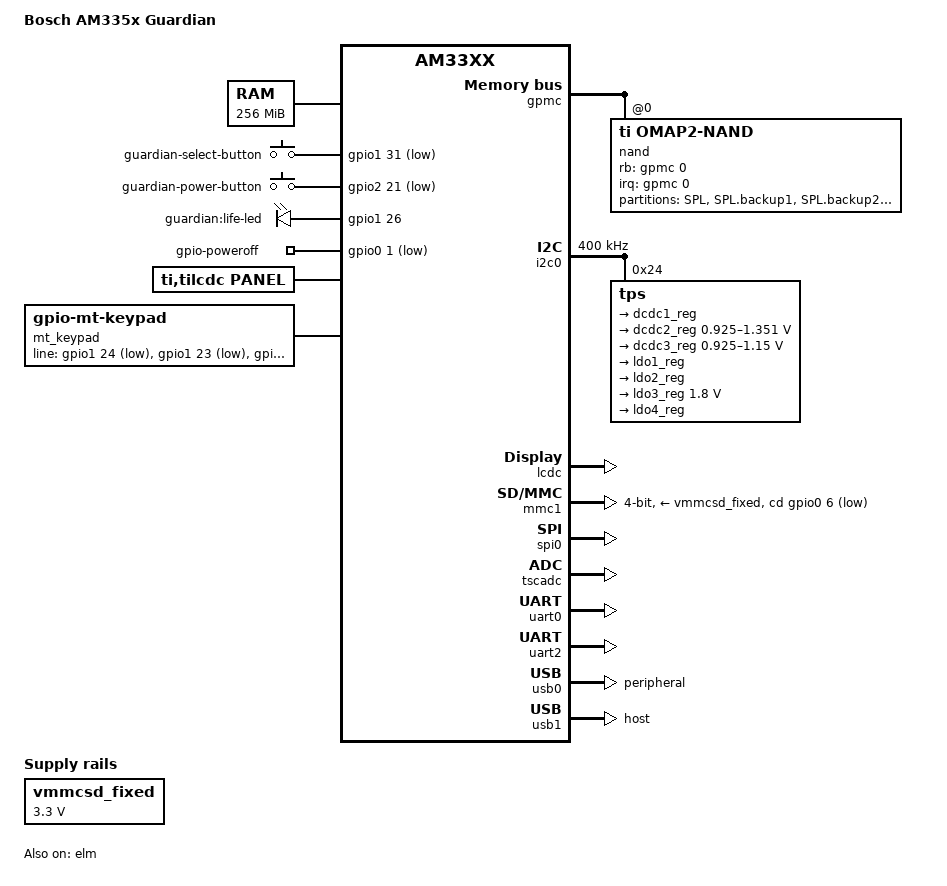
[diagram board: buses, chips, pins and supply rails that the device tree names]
// SPDX-License-Identifier: GPL-2.0
/*
 * Copyright (C) 2012 Texas Instruments Incorporated - https://www.ti.com/
 * Copyright (C) 2018 Robert Bosch Power Tools GmbH
 */
/dts-v1/;

#include "am33xx.dtsi"
#include <dt-bindings/input/input.h>
#include <dt-bindings/interrupt-controller/irq.h>

/ {
	model = "Bosch AM335x Guardian";
	compatible = "bosch,am335x-guardian", "ti,am33xx";

	chosen {
		stdout-path = &uart0;
		tick-timer = &timer2;
	};

	cpus {
		cpu@0 {
			cpu0-supply = <&dcdc2_reg>;
		};
	};

	memory@80000000 {
		device_type = "memory";
		reg = <0x80000000 0x10000000>; /* 256 MB */
	};

	guardian_buttons: gpio-keys {
		pinctrl-names = "default";
		pinctrl-0 = <&guardian_button_pins>;
		compatible = "gpio-keys";

		select-button {
			label = "guardian-select-button";
			linux,code = <KEY_5>;
			gpios = <&gpio1 31 GPIO_ACTIVE_LOW>;
			wakeup-source;
		};

		power-button {
			label = "guardian-power-button";
			linux,code = <KEY_POWER>;
			gpios = <&gpio2 21 GPIO_ACTIVE_LOW>;
			wakeup-source;
		};
	};

	guardian_leds: gpio-leds {
		pinctrl-names = "default";
		pinctrl-0 = <&guardian_led_pins>;
		compatible = "gpio-leds";

		life-led {
			label = "guardian:life-led";
			gpios = <&gpio1 26 GPIO_ACTIVE_HIGH>;
			linux,default-trigger = "heartbeat";
			default-state = "off";
		};
	};

	gpio-poweroff {
		compatible = "gpio-poweroff";
		gpios = <&gpio0 1 GPIO_ACTIVE_LOW>;
	};

	panel {
		compatible = "ti,tilcdc,panel";
		pinctrl-names = "default", "sleep";
		pinctrl-0 = <&lcd_pins_default &lcd_disen_pins>;
		pinctrl-1 = <&lcd_pins_sleep>;

		display-timings {
			timing-320x240 {
				hactive         = <320>;
				vactive         = <240>;
				hback-porch     = <68>;
				hfront-porch    = <20>;
				hsync-len       = <1>;
				vback-porch     = <18>;
				vfront-porch    = <4>;
				vsync-len       = <1>;
				clock-frequency = <9000000>;
				hsync-active    = <0>;
				vsync-active    = <0>;
			};
		};
		panel-info {
			ac-bias           = <255>;
			ac-bias-intrpt    = <0>;
			dma-burst-sz      = <16>;
			bpp               = <24>;
			bus-width         = <16>;
			fdd               = <0x80>;
			sync-edge         = <0>;
			sync-ctrl         = <1>;
			raster-order      = <0>;
			fifo-th           = <0>;
		};

	};

	guardian_beeper: pwm-7 {
		compatible = "ti,omap-dmtimer-pwm";
		#pwm-cells = <3>;
		ti,timers = <&timer7>;
		pinctrl-names = "default";
		pinctrl-0 = <&guardian_beeper_pins>;
		ti,clock-source = <0x01>;
	};

	vmmcsd_fixed: fixedregulator0 {
		compatible = "regulator-fixed";
		regulator-name = "vmmcsd_fixed";
		regulator-min-microvolt = <3300000>;
		regulator-max-microvolt = <3300000>;
	};

	mt_keypad: mt_keypad@0 {
		compatible = "gpio-mt-keypad";
		debounce-delay-ms = <10>;
		col-scan-delay-us = <2>;
		keypad,num-lines = <5>;
		linux,no-autorepeat;
		gpio-activelow;
		line-gpios = <
			&gpio1 24 GPIO_ACTIVE_LOW    /*gpio_56*/
			&gpio1 23 GPIO_ACTIVE_LOW    /*gpio_55*/
			&gpio1 22 GPIO_ACTIVE_LOW    /*gpio_54*/
			&gpio1 20 GPIO_ACTIVE_LOW    /*gpio_52*/
			&gpio1 16 GPIO_ACTIVE_LOW    /*gpio_48*/
		>;
	};
};

&elm {
	status = "okay";
};

&gpmc {
	pinctrl-names = "default";
	pinctrl-0 = <&nandflash_pins>;
	ranges = <0 0 0x08000000 0x1000000>;  /* CS0: 16MB for NAND */
	status = "okay";

	nand@0,0 {
		compatible = "ti,omap2-nand";
		reg = <0 0 4>; /* CS0, offset 0, IO size 4 */
		interrupt-parent = <&gpmc>;
		interrupts = <0 IRQ_TYPE_NONE>, /* fifoevent */
			     <1 IRQ_TYPE_NONE>; /* termcount */
		rb-gpios = <&gpmc 0 GPIO_ACTIVE_HIGH>; /* gpmc_wait0 */
		ti,nand-xfer-type = "prefetch-dma";
		ti,nand-ecc-opt = "bch16";
		ti,elm-id = <&elm>;
		nand-bus-width = <8>;
		gpmc,device-width = <1>;
		gpmc,sync-clk-ps = <0>;
		gpmc,cs-on-ns = <0>;
		gpmc,cs-rd-off-ns = <30>;
		gpmc,cs-wr-off-ns = <30>;
		gpmc,adv-on-ns = <0>;
		gpmc,adv-rd-off-ns = <30>;
		gpmc,adv-wr-off-ns = <30>;
		gpmc,we-on-ns = <0>;
		gpmc,we-off-ns = <15>;
		gpmc,oe-on-ns = <1>;
		gpmc,oe-off-ns = <15>;
		gpmc,access-ns = <30>;
		gpmc,rd-cycle-ns = <30>;
		gpmc,wr-cycle-ns = <30>;
		gpmc,bus-turnaround-ns = <0>;
		gpmc,cycle2cycle-delay-ns = <0>;
		gpmc,clk-activation-ns = <0>;
		gpmc,wr-access-ns = <0>;
		gpmc,wr-data-mux-bus-ns = <0>;

		/*
		 * MTD partition table
		 *
		 * All SPL-* partitions are sized to minimal length which can
		 * be independently programmable. For NAND flash this is equal
		 * to size of erase-block.
		 */
		#address-cells = <1>;
		#size-cells = <1>;

		partition@0 {
			label = "SPL";
			reg = <0x0 0x40000>;
		};

		partition@1 {
			label = "SPL.backup1";
			reg = <0x40000  0x40000>;
		};

		partition@2 {
			label = "SPL.backup2";
			reg = <0x80000  0x40000>;
		};

		partition@3 {
			label = "SPL.backup3";
			reg = <0xc0000  0x40000>;
		};

		partition@4 {
			label = "u-boot";
			reg = <0x100000 0x100000>;
		};

		partition@5 {
			label = "u-boot.backup1";
			reg = <0x200000 0x100000>;
		};

		partition@6 {
			label = "u-boot-2";
			reg = <0x300000 0x100000>;
		};

		partition@7 {
			label = "u-boot-2.backup1";
			reg = <0x400000 0x100000>;
		};

		partition@8 {
			label = "u-boot-env";
			reg = <0x500000 0x40000>;
		};

		partition@9 {
			label = "u-boot-env.backup1";
			reg = <0x540000 0x40000>;
		};

		partition@10 {
			label = "splash-screen";
			reg = <0x580000 0x40000>;
		};

		partition@11 {
			label = "UBI";
			reg = <0x5c0000 0x1fa40000>;
		};
	};
};

&i2c0 {
	pinctrl-names = "default";
	pinctrl-0 = <&i2c0_pins>;
	clock-frequency = <400000>;
	status = "okay";

	tps: tps@24 {
		reg = <0x24>;
	};
};

&lcdc {
	blue-and-red-wiring = "crossed";
	status = "okay";
	port {
		lcdc_0: endpoint@0 {
			remote-endpoint = <0>;
		};
	};
};

&mmc1 {
	bus-width = <0x4>;
	pinctrl-names = "default";
	pinctrl-0 = <&mmc1_pins>;
	cd-gpios = <&gpio0 6 GPIO_ACTIVE_LOW>;
	vmmc-supply = <&vmmcsd_fixed>;
	status = "okay";
};

&rtc {
	clocks = <&clk_32768_ck>, <&clk_24mhz_clkctrl AM3_CLK_24MHZ_CLKDIV32K_CLKCTRL 0>;
	clock-names = "ext-clk", "int-clk";
};

&spi0 {
	ti,pindir-d0-out-d1-in;
	pinctrl-names = "default";
	pinctrl-0 = <&spi0_pins>;
	status = "okay";
};

#include "../../tps65217.dtsi"

&tps {
  /*
   * Configure pmic to enter OFF-state instead of SLEEP-state ("RTC-only
   * mode") at poweroff.  Most BeagleBone versions do not support RTC-only
   * mode and risk hardware damage if this mode is entered.
   *
   * For details, see linux-omap mailing list May 2015 thread
   *  [PATCH] ARM: dts: am335x-bone* enable pmic-shutdown-controller
   * In particular, messages:
   *  https://www.spinics.net/lists/linux-omap/msg118585.html
   *  https://www.spinics.net/lists/linux-omap/msg118615.html
   *
   * You can override this later with
   *  &tps {  /delete-property/ ti,pmic-shutdown-controller;  }
   * if you want to use RTC-only mode and made sure you are not affected
   * by the hardware problems. (Tip: double-check by performing a current
   * measurement after shutdown: it should be less than 1 mA.)
   */
	ti,pmic-shutdown-controller;
	interrupt-parent = <&intc>;
	interrupts = <7>; /* NMI */

	backlight {
		isel = <1>;  /* 1 - ISET1, 2 ISET2 */
		fdim = <500>; /* TPS65217_BL_FDIM_500HZ */
		default-brightness = <50>;
		/* 1(on) - enable current sink, while initialization */
		/* 0(off) - disable current sink, while initialization */
		isink-en = <1>;
	};

	regulators {
		dcdc1_reg: regulator@0 {
			regulator-name = "vdds_dpr";
			regulator-always-on;
		};

		dcdc2_reg: regulator@1 {
			/* VDD_MPU voltage limits 0.95V - 1.26V with +/-4% tolerance */
			regulator-name = "vdd_mpu";
			regulator-min-microvolt = <925000>;
			regulator-max-microvolt = <1351500>;
			regulator-boot-on;
			regulator-always-on;
		};

		dcdc3_reg: regulator@2 {
			/* VDD_CORE voltage limits 0.95V - 1.1V with +/-4% tolerance */
			regulator-name = "vdd_core";
			regulator-min-microvolt = <925000>;
			regulator-max-microvolt = <1150000>;
			regulator-boot-on;
			regulator-always-on;
		};

		ldo1_reg: regulator@3 {
			regulator-name = "vio,vrtc,vdds";
			regulator-always-on;
		};

		ldo2_reg: regulator@4 {
			regulator-name = "vdd_3v3aux";
			regulator-always-on;
		};

		ldo3_reg: regulator@5 {
			regulator-name = "vdd_1v8";
			regulator-min-microvolt = <1800000>;
			regulator-max-microvolt = <1800000>;
			regulator-always-on;
		};

		ldo4_reg: regulator@6 {
			regulator-name = "vdd_3v3a";
			regulator-always-on;
		};
	};
};

&tscadc {
	status = "okay";

	adc {
		ti,adc-channels = <0 1 2 3 4 5 6>;
	};
};

&gpio0 {
	gpio-line-names =
		"",
		"",
		"",
		"",
		"",
		"",
		"",
		"",
		"",
		"",
		"",
		"",
		"",
		"",
		"",
		"",
		"",
		"",
		"",
		"",
		"",
		"",
		"",
		"",
		"",
		"",
		"",
		"",
		"",
		"MirxWakeup",
		"",
		"";
};

&gpio3 {
	ti,gpio-always-on;
	ti,no-reset-on-init;
	gpio-line-names =
		"",
		"MirxBtReset",
		"",
		"CcVolAdcEn",
		"MirxBlePause",
		"",
		"",
		"",
		"",
		"",
		"",
		"",
		"",
		"",
		"AspEn",
		"",
		"",
		"",
		"",
		"",
		"",
		"BatVolAdcEn",
		"",
		"",
		"",
		"",
		"",
		"",
		"",
		"",
		"",
		"";
};

&uart0 {
	pinctrl-names = "default";
	pinctrl-0 = <&uart0_pins>;
	status = "okay";
};

&uart2 {
	pinctrl-names = "default";
	pinctrl-0 = <&uart2_pins>;
	status = "okay";
};

&usb0 {
	dr_mode = "peripheral";
};

&usb1 {
	dr_mode = "host";
	/delete-property/dmas;
	/delete-property/dma-names;
};

&am33xx_pinmux {
	pinctrl-names = "default";
	pinctrl-0 = <&clkout2_pin &guardian_interface_pins>;

	clkout2_pin: clkout2-pins {
		pinctrl-single,pins = <
			/* xdma_event_intr1.clkout2 */
			AM33XX_IOPAD(0x9b4, PIN_OUTPUT_PULLDOWN | MUX_MODE3)
		>;
	};

	guardian_interface_pins: interface-pins {
		pinctrl-single,pins = <
			/* ADC_BATSENSE_EN */
			/* (A14) MCASP0_AHCLKx.gpio3[21] */
			AM33XX_IOPAD(0x9ac, PIN_OUTPUT_PULLDOWN | MUX_MODE7 )
			/* ADC_COINCELL_EN */
			/* (J16) MII1_TX_EN.gpio3[3] */
			AM33XX_IOPAD(0x914, PIN_OUTPUT_PULLDOWN | MUX_MODE7 )
			/* ASP_ENABLE */
			/* (A13) MCASP0_ACLKx.gpio3[14] */
			AM33XX_IOPAD(0x990, PIN_OUTPUT_PULLUP | MUX_MODE7)
			/* (D16) uart1_rxd.uart1_rxd */
			AM33XX_IOPAD(0x980, PIN_INPUT | MUX_MODE7)
			/* (D15) uart1_txd.uart1_txd */
			AM33XX_IOPAD(0x984, PIN_INPUT | MUX_MODE7)
			/*SWITCH-OFF_3V6*/
			/* (M18) gpio0[1] */
			AM33XX_IOPAD(0x94c, PIN_OUTPUT_PULLUP | MUX_MODE7)
			/* MIRACULIX */
			/* (H17) gmii1_crs.gpio3[1] */
			AM33XX_IOPAD(0x90c, PIN_OUTPUT_PULLDOWN | MUX_MODE7 )
			/* (H18) rmii1_refclk.gpio0[29] */
			AM33XX_IOPAD(0x944, PIN_OUTPUT_PULLDOWN | MUX_MODE7 )
			/* (J18) gmii1_txd3.gpio0[16] */
			AM33XX_IOPAD(0x91c, PIN_INPUT           | MUX_MODE7 )
			/* (J17) gmii1_rxdv.gpio3[4] */
			AM33XX_IOPAD(0x918, PIN_OUTPUT_PULLDOWN | MUX_MODE7 )
		>;
	};

	guardian_beeper_pins: dmtimer7-pins {
		pinctrl-single,pins = <
			AM33XX_IOPAD(0x968, PIN_OUTPUT | MUX_MODE5) /* (E18) timer7 */
		>;
	};

	guardian_button_pins: guardian-button-pins {
		pinctrl-single,pins = <
			AM33XX_IOPAD(0x940, PIN_INPUT | MUX_MODE7) /* (M16) gmii1_rxd0.gpio2[21] */
			AM33XX_IOPAD(0x884, PIN_INPUT | MUX_MODE7) /* (V9)  gpmc_csn2.gpio1[31] */
		>;
	};


	i2c0_pins: i2c0-pins {
		pinctrl-single,pins = <
			AM33XX_IOPAD(0x988, PIN_INPUT_PULLUP | MUX_MODE0) /* i2c0_sda.i2c0_sda */
			AM33XX_IOPAD(0x98c, PIN_INPUT_PULLUP | MUX_MODE0) /* i2c0_scl.i2c0_scl */
		>;
	};

	led_bl_pins: gpio-led-bl-pins {
		pinctrl-single,pins = <
			/* P9_14, gpmc_a[2].GPIO1[18] (backlight control) */
			AM33XX_IOPAD(0x848, PIN_OUTPUT | MUX_MODE7)
		>;
	};

	lcd_disen_pins: lcd-disen-pins {
		pinctrl-single,pins = <
			/* P9_27, mcasp0_fsr.gpio3[19] (lcd_disen) */
			AM33XX_IOPAD(0x9a4, PIN_OUTPUT_PULLUP | SLEWCTRL_SLOW | MUX_MODE7)
		>;
	};

	lcd_pins_default: lcd-default-pins {
		pinctrl-single,pins = <
			/* (U10) gpmc_ad8.lcd_data23 */
			AM33XX_IOPAD(0x820, PIN_OUTPUT | SLEWCTRL_SLOW | MUX_MODE1)
			/* (T10) gpmc_ad9.lcd_data22 */
			AM33XX_IOPAD(0x824, PIN_OUTPUT | SLEWCTRL_SLOW | MUX_MODE1)
			/* (T11) gpmc_ad10.lcd_data21 */
			AM33XX_IOPAD(0x828, PIN_OUTPUT | SLEWCTRL_SLOW | MUX_MODE1)
			/* (U12) gpmc_ad11.lcd_data20 */
			AM33XX_IOPAD(0x82c, PIN_OUTPUT | SLEWCTRL_SLOW | MUX_MODE1)
			/* (T12) gpmc_ad12.lcd_data19 */
			AM33XX_IOPAD(0x830, PIN_OUTPUT | SLEWCTRL_SLOW | MUX_MODE1)
			/* (R12) gpmc_ad13.lcd_data18 */
			AM33XX_IOPAD(0x834, PIN_OUTPUT | SLEWCTRL_SLOW | MUX_MODE1)
			/* (V13) gpmc_ad14.lcd_data17 */
			AM33XX_IOPAD(0x838, PIN_OUTPUT | SLEWCTRL_SLOW | MUX_MODE1)
			/* (U13) gpmc_ad15.lcd_data16 */
			AM33XX_IOPAD(0x83c, PIN_OUTPUT | SLEWCTRL_SLOW | MUX_MODE1)
			/* lcd_data0.lcd_data0 */
			AM33XX_IOPAD(0x8a0, PIN_OUTPUT | SLEWCTRL_SLOW | MUX_MODE0)
			/* lcd_data1.lcd_data1 */
			AM33XX_IOPAD(0x8a4, PIN_OUTPUT | SLEWCTRL_SLOW | MUX_MODE0)
			/* lcd_data2.lcd_data2 */
			AM33XX_IOPAD(0x8a8, PIN_OUTPUT | SLEWCTRL_SLOW | MUX_MODE0)
			/* lcd_data3.lcd_data3 */
			AM33XX_IOPAD(0x8ac, PIN_OUTPUT | SLEWCTRL_SLOW | MUX_MODE0)
			/* lcd_data4.lcd_data4 */
			AM33XX_IOPAD(0x8b0, PIN_OUTPUT | SLEWCTRL_SLOW | MUX_MODE0)
			/* lcd_data5.lcd_data5 */
			AM33XX_IOPAD(0x8b4, PIN_OUTPUT | SLEWCTRL_SLOW | MUX_MODE0)
			/* lcd_data6.lcd_data6 */
			AM33XX_IOPAD(0x8b8, PIN_OUTPUT | SLEWCTRL_SLOW | MUX_MODE0)
			/* lcd_data7.lcd_data7 */
			AM33XX_IOPAD(0x8bc, PIN_OUTPUT | SLEWCTRL_SLOW | MUX_MODE0)
			/* lcd_data8.lcd_data8 */
			AM33XX_IOPAD(0x8c0, PIN_OUTPUT | SLEWCTRL_SLOW | MUX_MODE0)
			/* lcd_data9.lcd_data9 */
			AM33XX_IOPAD(0x8c4, PIN_OUTPUT | SLEWCTRL_SLOW | MUX_MODE0)
			/* lcd_data10.lcd_data10 */
			AM33XX_IOPAD(0x8c8, PIN_OUTPUT | SLEWCTRL_SLOW | MUX_MODE0)
			/* lcd_data11.lcd_data11 */
			AM33XX_IOPAD(0x8cc, PIN_OUTPUT | SLEWCTRL_SLOW | MUX_MODE0)
			/* lcd_data12.lcd_data12 */
			AM33XX_IOPAD(0x8d0, PIN_OUTPUT | SLEWCTRL_SLOW | MUX_MODE0)
			/* lcd_data13.lcd_data13 */
			AM33XX_IOPAD(0x8d4, PIN_OUTPUT | SLEWCTRL_SLOW | MUX_MODE0)
			/* lcd_data14.lcd_data14 */
			AM33XX_IOPAD(0x8d8, PIN_OUTPUT | SLEWCTRL_SLOW | MUX_MODE0)
			/* lcd_data15.lcd_data15 */
			AM33XX_IOPAD(0x8dc, PIN_OUTPUT | SLEWCTRL_SLOW | MUX_MODE0)
			/* lcd_vsync.lcd_vsync */
			AM33XX_IOPAD(0x8e0, PIN_OUTPUT | SLEWCTRL_SLOW | MUX_MODE0)
			/* lcd_hsync.lcd_hsync */
			AM33XX_IOPAD(0x8e4, PIN_OUTPUT | SLEWCTRL_SLOW | MUX_MODE0)
			/* lcd_pclk.lcd_pclk */
			AM33XX_IOPAD(0x8e8, PIN_OUTPUT | SLEWCTRL_SLOW | MUX_MODE0)
			/* lcd_ac_bias_en.lcd_ac_bias_en */
			AM33XX_IOPAD(0x8ec, PIN_OUTPUT | SLEWCTRL_SLOW | MUX_MODE0)
		>;
	};

	lcd_pins_sleep: lcd-sleep-pins {
		pinctrl-single,pins = <
			/* lcd_data0.lcd_data0 */
			AM33XX_IOPAD(0x8a0, PULL_DISABLE | SLEWCTRL_SLOW | MUX_MODE7)
			/* lcd_data1.lcd_data1 */
			AM33XX_IOPAD(0x8a4, PULL_DISABLE | SLEWCTRL_SLOW | MUX_MODE7)
			/* lcd_data2.lcd_data2 */
			AM33XX_IOPAD(0x8a8, PULL_DISABLE | SLEWCTRL_SLOW | MUX_MODE7)
			/* lcd_data3.lcd_data3 */
			AM33XX_IOPAD(0x8ac, PULL_DISABLE | SLEWCTRL_SLOW | MUX_MODE7)
			/* lcd_data4.lcd_data4 */
			AM33XX_IOPAD(0x8b0, PULL_DISABLE | SLEWCTRL_SLOW | MUX_MODE7)
			/* lcd_data5.lcd_data5 */
			AM33XX_IOPAD(0x8b4, PULL_DISABLE | SLEWCTRL_SLOW | MUX_MODE7)
			/* lcd_data6.lcd_data6 */
			AM33XX_IOPAD(0x8b8, PULL_DISABLE | SLEWCTRL_SLOW | MUX_MODE7)
			/* lcd_data7.lcd_data7 */
			AM33XX_IOPAD(0x8bc, PULL_DISABLE | SLEWCTRL_SLOW | MUX_MODE7)
			/* lcd_data8.lcd_data8 */
			AM33XX_IOPAD(0x8c0, PULL_DISABLE | SLEWCTRL_SLOW | MUX_MODE7)
			/* lcd_data9.lcd_data9 */
			AM33XX_IOPAD(0x8c4, PULL_DISABLE | SLEWCTRL_SLOW | MUX_MODE7)
			/* lcd_data10.lcd_data10 */
			AM33XX_IOPAD(0x8c8, PULL_DISABLE | SLEWCTRL_SLOW | MUX_MODE7)
			/* lcd_data11.lcd_data11 */
			AM33XX_IOPAD(0x8cc, PULL_DISABLE | SLEWCTRL_SLOW | MUX_MODE7)
			/* lcd_data12.lcd_data12 */
			AM33XX_IOPAD(0x8d0, PULL_DISABLE | SLEWCTRL_SLOW | MUX_MODE7)
			/* lcd_data13.lcd_data13 */
			AM33XX_IOPAD(0x8d4, PULL_DISABLE | SLEWCTRL_SLOW | MUX_MODE7)
			/* lcd_data14.lcd_data14 */
			AM33XX_IOPAD(0x8d8, PULL_DISABLE | SLEWCTRL_SLOW | MUX_MODE7)
			/* lcd_data15.lcd_data15 */
			AM33XX_IOPAD(0x8dc, PULL_DISABLE | SLEWCTRL_SLOW | MUX_MODE7)
			/* lcd_vsync.lcd_vsync */
			AM33XX_IOPAD(0x8e0, PIN_INPUT_PULLDOWN | SLEWCTRL_SLOW | MUX_MODE7)
			/* lcd_hsync.lcd_hsync */
			AM33XX_IOPAD(0x8e4, PIN_INPUT_PULLDOWN | SLEWCTRL_SLOW | MUX_MODE7)
			/* lcd_pclk.lcd_pclk */
			AM33XX_IOPAD(0x8e8, PIN_INPUT_PULLDOWN | SLEWCTRL_SLOW | MUX_MODE7)
			/* lcd_ac_bias_en.lcd_ac_bias_en */
			AM33XX_IOPAD(0x8ec, PIN_INPUT_PULLDOWN | SLEWCTRL_SLOW | MUX_MODE7)
		>;
	};

	guardian_led_pins: guardian-led-pins {
		pinctrl-single,pins = <
			AM33XX_IOPAD(0x868, PIN_OUTPUT | MUX_MODE7) /* (T16) gpmc_a10.gpio1[26] */
		>;
	};

	mmc1_pins: mmc1-pins {
		pinctrl-single,pins = <
			AM33XX_IOPAD(0x8f0, PIN_INPUT_PULLUP | MUX_MODE0)  /* mmc0_dat3.mmc0_dat3 */
			AM33XX_IOPAD(0x8f4, PIN_INPUT_PULLUP | MUX_MODE0)  /* mmc0_dat2.mmc0_dat2 */
			AM33XX_IOPAD(0x8f8, PIN_INPUT_PULLUP | MUX_MODE0)  /* mmc0_dat1.mmc0_dat1 */
			AM33XX_IOPAD(0x8fc, PIN_INPUT_PULLUP | MUX_MODE0)  /* mmc0_dat0.mmc0_dat0 */
			AM33XX_IOPAD(0x900, PIN_INPUT_PULLUP | MUX_MODE0)  /* mmc0_clk.mmc0_clk */
			AM33XX_IOPAD(0x904, PIN_INPUT_PULLUP | MUX_MODE0)  /* mmc0_cmd.mmc0_cmd */
			AM33XX_IOPAD(0x960, PIN_INPUT | MUX_MODE7)         /* GPIO0_6 */
		>;
	};

	spi0_pins: spi0-pins {
		pinctrl-single,pins = <
			/* SPI0_CLK  - spi0_clk.spi */
			AM33XX_IOPAD(0x950, PIN_OUTPUT_PULLDOWN | MUX_MODE0)
			/* SPI0_MOSI - spi0_d0.spi0 */
			AM33XX_IOPAD(0x954, PIN_OUTPUT_PULLUP | MUX_MODE0)
			/* SPI0_MISO - spi0_d1.spi0 */
			AM33XX_IOPAD(0x958, PIN_INPUT_PULLUP | MUX_MODE0)
			/* SPI0_CS0 - spi */
			AM33XX_IOPAD(0x95c, PIN_OUTPUT_PULLUP | MUX_MODE0)
		>;
	};

	uart0_pins: uart0-pins {
		pinctrl-single,pins = <
			/* uart0_rxd.uart0_rxd */
			AM33XX_IOPAD(0x970, PIN_INPUT_PULLUP | MUX_MODE0)
			/* uart0_txd.uart0_txd */
			AM33XX_IOPAD(0x974, PIN_OUTPUT_PULLDOWN | MUX_MODE0)
		>;
	};

	uart2_pins: uart2-pins {
		pinctrl-single,pins = <
			/* K18 uart2_rxd.mirx_txd */
			AM33XX_IOPAD(0x92c, PIN_INPUT_PULLUP | MUX_MODE1)
			/* L18 uart2_txd.mirx_rxd */
			AM33XX_IOPAD(0x930, PIN_OUTPUT_PULLDOWN | MUX_MODE1)
		>;
	};

	nandflash_pins: nandflash-pins {
		pinctrl-single,pins = <
			/* (U7) gpmc_ad0.gpmc_ad0 */
			AM33XX_IOPAD(0x800, PIN_INPUT | MUX_MODE0)
			/* (V7) gpmc_ad1.gpmc_ad1 */
			AM33XX_IOPAD(0x804, PIN_INPUT | MUX_MODE0)
			/* (R8) gpmc_ad2.gpmc_ad2 */
			AM33XX_IOPAD(0x808, PIN_INPUT | MUX_MODE0)
			/* (T8) gpmc_ad3.gpmc_ad3 */
			AM33XX_IOPAD(0x80c, PIN_INPUT | MUX_MODE0)
			/* (U8) gpmc_ad4.gpmc_ad4 */
			AM33XX_IOPAD(0x810, PIN_INPUT | MUX_MODE0)
			/* (V8) gpmc_ad5.gpmc_ad5 */
			AM33XX_IOPAD(0x814, PIN_INPUT | MUX_MODE0)
			/* (R9) gpmc_ad6.gpmc_ad6 */
			AM33XX_IOPAD(0x818, PIN_INPUT | MUX_MODE0)
			/* (T9) gpmc_ad7.gpmc_ad7 */
			AM33XX_IOPAD(0x81c, PIN_INPUT | MUX_MODE0)
			/* (T17) gpmc_wait0.gpmc_wait0 */
			AM33XX_IOPAD(0x870, PIN_INPUT | MUX_MODE0)
			/* (U17) gpmc_wpn.gpmc_wpn */
			AM33XX_IOPAD(0x874, PIN_OUTPUT | MUX_MODE0)
			/* (V6) gpmc_csn0.gpmc_csn0 */
			AM33XX_IOPAD(0x87c, PIN_OUTPUT | MUX_MODE0)
			/* (R7) gpmc_advn_ale.gpmc_advn_ale */
			AM33XX_IOPAD(0x890, PIN_OUTPUT | MUX_MODE0)
			/* (T7) gpmc_oen_ren.gpmc_oen_ren */
			AM33XX_IOPAD(0x894, PIN_OUTPUT | MUX_MODE0)
			/* (U6) gpmc_wen.gpmc_wen */
			AM33XX_IOPAD(0x898, PIN_OUTPUT | MUX_MODE0)
			/* (T6) gpmc_be0n_cle.gpmc_be0n_cle */
			AM33XX_IOPAD(0x89c, PIN_OUTPUT | MUX_MODE0)
		>;
	};
};
